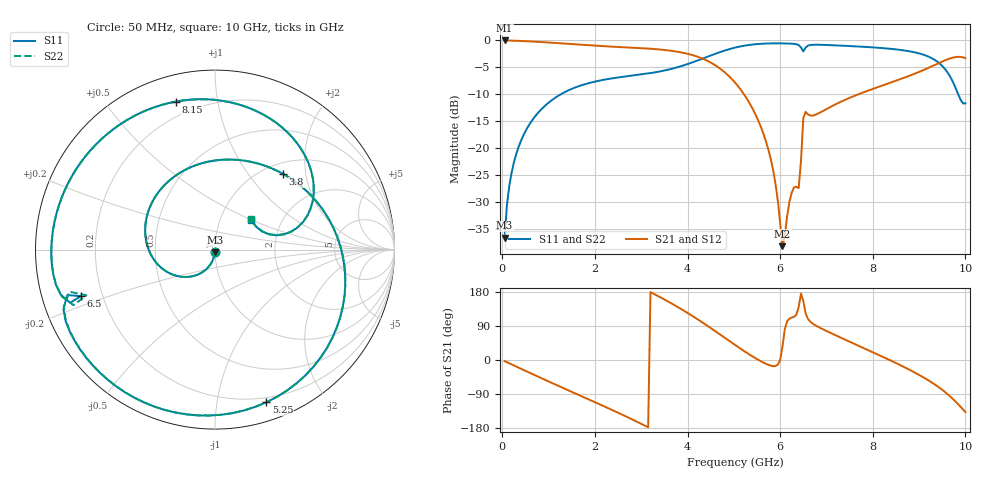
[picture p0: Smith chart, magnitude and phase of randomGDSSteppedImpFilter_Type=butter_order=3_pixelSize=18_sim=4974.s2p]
! freq	dB(S11)	phase(S11)	dB(S12)	phase(S12)
!  dB(S21)	phase(S21)	dB(S22)	phase(S22)
!S-par simulation data
#  GHz  S  DB  R 50
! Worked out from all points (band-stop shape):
!   200 points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, 50 MHz to 10 GHz, reference 50 ohm
!   highest |S21| = 0.00 dB at 50 MHz (marker M1); lowest = -38.1 dB at 6.05 GHz (marker M2)
!   |S21| within 3 dB of the highest: start of sweep to 4.211 GHz
!   lowest |S11| = -36.5 dB at 50 MHz (marker M3), VSWR 1.03, Z = 49.9 - j1.49 ohm
!   |S11| at or under -10 dB: start of sweep to 1.258 GHz; 9.846 GHz to end of sweep
!   |S22| runs from -36.5 to -0.5 dB; largest |S21 - S12| = 0
!   S11 on the Smith chart (normalised r, x): 50 MHz: 1.00, -0.03; 3.8 GHz: 1.20, +1.50; 5.25 GHz: 0.16, -1.38; 6.5 GHz: 0.12, -0.17; 8.15 GHz: 0.13, +0.76; 10 GHz: 1.40, +0.50
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0.05  -36.53 -92.7  -0.00 -2.9  -0.00 -2.9  -36.53 -92.7
0.2  -24.54 -101.7  -0.04 -11.5  -0.04 -11.5  -24.54 -101.7
0.5  -16.83 -119.2  -0.13 -28.6  -0.13 -28.6  -16.83 -119.2
1.75  -8.20 171.7  -0.84 -97.6  -0.84 -97.6  -8.20 171.7
2.65  -6.69 121.6  -1.27 -147.7  -1.27 -147.7  -6.69 121.7
3.4  -5.75 75.6  -1.68 166.4  -1.68 166.4  -5.75 75.7
3.8  -4.93 48.1  -2.12 138.9  -2.12 138.9  -4.93 48.2
4.4  -3.12 1.6  -3.66 92.7  -3.66 92.7  -3.12 1.7
5.05  -1.28 -54.3  -8.05 37.7  -8.05 37.7  -1.28 -54.2
5.25  -0.94 -71.4  -10.38 21.3  -10.38 21.3  -0.94 -71.3
5.8  -0.55 -114.9  -22.09 -15.0  -22.09 -15.0  -0.55 -114.9
6.05  -0.55 -132.9  -38.11 35.3  -38.11 35.3  -0.55 -133.0
6.25  -0.60 -146.9  -28.19 111.9  -28.19 111.9  -0.62 -147.2
6.4  -0.85 -158.6  -27.36 139.5  -27.36 139.5  -0.92 -159.3
6.5  -2.04 -160.9  -14.38 155.8  -14.38 155.8  -2.38 -160.4
6.7  -0.80 -171.1  -13.92 96.3  -13.92 96.3  -0.81 -170.6
7.35  -0.97 149.9  -11.20 56.7  -11.20 56.7  -0.97 150.1
8.15  -1.38 104.9  -8.53 12.3  -8.53 12.3  -1.38 105.0
8.35  -1.52 93.5  -7.93 0.8  -7.93 0.8  -1.52 93.7
9.3  -3.41 36.1  -4.70 -61.4  -4.70 -61.4  -3.41 36.2
9.7  -7.16 13.3  -3.25 -99.4  -3.25 -99.4  -7.15 13.4
10  -11.66 39.7  -3.27 -137.2  -3.27 -137.2  -11.62 39.8
